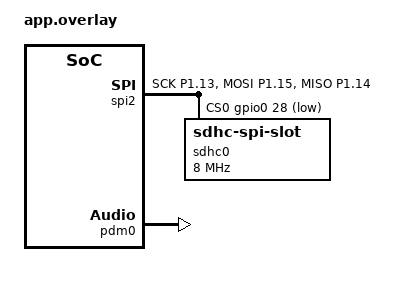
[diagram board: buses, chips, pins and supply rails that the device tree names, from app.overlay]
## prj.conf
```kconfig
# ---------- PocketMind Ep 6: recorder + BLE file transfer ----------
# GPIO for LEDs, button, motor, mic power
CONFIG_GPIO=y
CONFIG_REGULATOR=y

# PDM microphone
CONFIG_AUDIO=y
CONFIG_AUDIO_DMIC=y

# SD card over SPI
CONFIG_SPI=y
CONFIG_SDHC=y
CONFIG_DISK_ACCESS=y
CONFIG_DISK_DRIVER_SDMMC=y

# File system: FAT + exFAT, safe to use from two threads (recorder + BLE)
CONFIG_FILE_SYSTEM=y
CONFIG_FAT_FILESYSTEM_ELM=y
CONFIG_FS_FATFS_LFN=y
CONFIG_FS_FATFS_EXFAT=y
CONFIG_FS_FATFS_REENTRANT=y

CONFIG_MAIN_STACK_SIZE=4096
CONFIG_SYSTEM_WORKQUEUE_STACK_SIZE=4096

# Bluetooth LE peripheral
CONFIG_BT=y
CONFIG_BT_PERIPHERAL=y
CONFIG_BT_DEVICE_NAME="PocketMind"
CONFIG_BT_L2CAP_TX_MTU=252
CONFIG_BT_BUF_ACL_RX_SIZE=256

# MCUmgr (SMP) over BLE: file access + basic OS commands
CONFIG_NET_BUF=y
CONFIG_ZCBOR=y
CONFIG_MCUMGR=y
CONFIG_MCUMGR_TRANSPORT_BT=y
CONFIG_MCUMGR_TRANSPORT_BT_REASSEMBLY=y
CONFIG_MCUMGR_TRANSPORT_BT_PERM_RW=y
CONFIG_MCUMGR_TRANSPORT_NETBUF_SIZE=512
CONFIG_MCUMGR_TRANSPORT_WORKQUEUE_STACK_SIZE=4096
CONFIG_MCUMGR_GRP_FS=y
CONFIG_MCUMGR_GRP_FS_MAX_FILE_SIZE_4GB=y
CONFIG_MCUMGR_GRP_OS=y
CONFIG_REBOOT=y

# ---------- SPEED-UP (Ep 6 "after"): uncomment these 6 lines ----------
#CONFIG_BT_CTLR_DATA_LENGTH_MAX=251
#CONFIG_BT_BUF_ACL_TX_SIZE=251
#CONFIG_BT_USER_DATA_LEN_UPDATE=y
#CONFIG_BT_GATT_AUTO_UPDATE_MTU=y
#CONFIG_BT_AUTO_DATA_LEN_UPDATE=y
#CONFIG_BT_CTLR_PHY_2M=y
```

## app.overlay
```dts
/* PocketMind: SD card breakout on SPI2
 * D8 = P1.13 = CLK, D9 = P1.14 = SO (MISO), D10 = P1.15 = SI (MOSI), D2 = P0.28 = CS
 */
&pinctrl {
	pm_spi2_default: pm_spi2_default {
		group1 {
			psels = <NRF_PSEL(SPIM_SCK, 1, 13)>,
				<NRF_PSEL(SPIM_MOSI, 1, 15)>,
				<NRF_PSEL(SPIM_MISO, 1, 14)>;
		};
	};
	pm_spi2_sleep: pm_spi2_sleep {
		group1 {
			psels = <NRF_PSEL(SPIM_SCK, 1, 13)>,
				<NRF_PSEL(SPIM_MOSI, 1, 15)>,
				<NRF_PSEL(SPIM_MISO, 1, 14)>;
			low-power-enable;
		};
	};
};

&spi2 {
	compatible = "nordic,nrf-spim";
	status = "okay";
	pinctrl-0 = <&pm_spi2_default>;
	pinctrl-1 = <&pm_spi2_sleep>;
	pinctrl-names = "default", "sleep";
	cs-gpios = <&gpio0 28 GPIO_ACTIVE_LOW>;

	sdhc0: sdhc@0 {
		compatible = "zephyr,sdhc-spi-slot";
		reg = <0>;
		status = "okay";
		spi-max-frequency = <8000000>;
		mmc {
			compatible = "zephyr,sdmmc-disk";
			disk-name = "SD";
			status = "okay";
		};
	};
};

&pdm0 {
	status = "okay";
};
```

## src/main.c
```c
/*
 * PocketMind - Ep 5: one-button recorder with haptics
 *
 * Button (D1 = P0.03, to GND):  click = start recording, click again = stop & save
 * Vibration module IN (D3 = P0.29): 1 buzz = started, 2 buzzes = saved
 * Files: /SD:/RECxxx.WAV (16 kHz, 16-bit, mono), flushed every second
 * BLE: advertises as "PocketMind"; download files with nRF Connect Device Manager
 *      (Files tab, path e.g. /SD:/REC001.WAV). Download only while green (idle).
 *
 * LEDs:
 *   green on        = ready (idle)
 *   blue on         = recording
 *   red blinks 2x   = SD card problem
 *   red blinks 3x   = could not create file
 *   red blinks 4x   = microphone problem
 *   red blinks 5x   = Bluetooth problem
 */
#include <zephyr/kernel.h>
#include <zephyr/device.h>
#include <zephyr/drivers/gpio.h>
#include <zephyr/audio/dmic.h>
#include <zephyr/fs/fs.h>
#include <zephyr/storage/disk_access.h>
#include <ff.h>
#include <zephyr/bluetooth/bluetooth.h>
#include <zephyr/bluetooth/conn.h>
#include <stdio.h>
#include <string.h>

#define SAMPLE_RATE     16000
#define BYTES_PER_SAMP  2
#define BLOCK_MS        100
#define BLOCK_SIZE      (SAMPLE_RATE * BYTES_PER_SAMP * BLOCK_MS / 1000)
#define BLOCK_COUNT     16
#define READ_TIMEOUT_MS 1000
#define GAIN            4      /* volume boost; try 3..8 */
#define DISK_NAME       "SD"
#define MOUNT_PT        "/SD:"

#define BTN_PIN         3      /* P0.03 = D1 */
#define MOTOR_PIN       29     /* P0.29 = D3 */
#define CHG_PIN         13     /* P0.13: low = 100 mA charging */
#define DEBOUNCE_MS     300

K_MEM_SLAB_DEFINE_STATIC(mic_slab, BLOCK_SIZE, BLOCK_COUNT, 4);
K_SEM_DEFINE(btn_sem, 0, 1);

static const struct gpio_dt_spec led_red   = GPIO_DT_SPEC_GET(DT_ALIAS(led0), gpios);
static const struct gpio_dt_spec led_green = GPIO_DT_SPEC_GET(DT_ALIAS(led1), gpios);
static const struct gpio_dt_spec led_blue  = GPIO_DT_SPEC_GET(DT_ALIAS(led2), gpios);
static const struct device *gpio0 = DEVICE_DT_GET(DT_NODELABEL(gpio0));
static const struct device *gpio1 = DEVICE_DT_GET(DT_NODELABEL(gpio1));
static const struct device *dmic = DEVICE_DT_GET(DT_NODELABEL(pdm0));

static struct gpio_callback btn_cb;
static int64_t last_press;

static FATFS fat_fs;
static struct fs_mount_t mp = {
	.type = FS_FATFS,
	.fs_data = &fat_fs,
	.mnt_point = MOUNT_PT,
};

struct __packed wav_header {
	char riff[4]; uint32_t riff_size; char wave[4];
	char fmt[4]; uint32_t fmt_size; uint16_t audio_format; uint16_t channels;
	uint32_t sample_rate; uint32_t byte_rate; uint16_t block_align; uint16_t bits_per_sample;
	char data[4]; uint32_t data_size;
};

static void make_header(struct wav_header *h, uint32_t data_bytes)
{
	memcpy(h->riff, "RIFF", 4); h->riff_size = 36 + data_bytes;
	memcpy(h->wave, "WAVE", 4); memcpy(h->fmt, "fmt ", 4);
	h->fmt_size = 16; h->audio_format = 1; h->channels = 1;
	h->sample_rate = SAMPLE_RATE; h->byte_rate = SAMPLE_RATE * BYTES_PER_SAMP;
	h->block_align = BYTES_PER_SAMP; h->bits_per_sample = 16;
	memcpy(h->data, "data", 4); h->data_size = data_bytes;
}

static void fail(int blinks)
{
	gpio_pin_set_dt(&led_blue, 0);
	gpio_pin_set_dt(&led_green, 0);
	while (1) {
		for (int i = 0; i < blinks; i++) {
			gpio_pin_set_dt(&led_red, 1); k_msleep(200);
			gpio_pin_set_dt(&led_red, 0); k_msleep(200);
		}
		k_msleep(1500);
	}
}

static void buzz(int times)
{
	for (int i = 0; i < times; i++) {
		gpio_pin_set(gpio0, MOTOR_PIN, 1); k_msleep(150);
		gpio_pin_set(gpio0, MOTOR_PIN, 0); k_msleep(150);
	}
}

static void button_pressed(const struct device *dev, struct gpio_callback *cb, uint32_t pins)
{
	int64_t now = k_uptime_get();

	if (now - last_press > DEBOUNCE_MS) {
		last_press = now;
		k_sem_give(&btn_sem);
	}
}

/* ---------- Bluetooth ---------- */
static const struct bt_data ad[] = {
	BT_DATA_BYTES(BT_DATA_FLAGS, (BT_LE_AD_GENERAL | BT_LE_AD_NO_BREDR)),
	/* MCUmgr SMP service UUID 8D53DC1D-1DB7-4CD3-868B-8A527460AA84 */
	BT_DATA_BYTES(BT_DATA_UUID128_ALL,
		      0x84, 0xaa, 0x60, 0x74, 0x52, 0x8a, 0x8b, 0x86,
		      0xd3, 0x4c, 0xb7, 0x1d, 0x1d, 0xdc, 0x53, 0x8d),
};
static const struct bt_data sd[] = {
	BT_DATA(BT_DATA_NAME_COMPLETE, CONFIG_BT_DEVICE_NAME, sizeof(CONFIG_BT_DEVICE_NAME) - 1),
};

static void adv_start(struct k_work *work)
{
	bt_le_adv_start(BT_LE_ADV_CONN_FAST_1, ad, ARRAY_SIZE(ad), sd, ARRAY_SIZE(sd));
}
K_WORK_DEFINE(adv_work, adv_start);

static void recycled(void)
{
	k_work_submit(&adv_work);   /* advertise again after phone disconnects */
}

BT_CONN_CB_DEFINE(conn_callbacks) = {
	.recycled = recycled,
};

static void drain_mic(void)
{
	void *buf;
	uint32_t size;

	while (dmic_read(dmic, 0, &buf, &size, 0) == 0) {
		k_mem_slab_free(&mic_slab, buf);
	}
}

static void record_one(void)
{
	char path[32];
	struct fs_dirent ent;
	struct fs_file_t file;
	struct wav_header hdr;
	uint32_t written = 0;

	for (int n = 1; n < 1000; n++) {
		snprintf(path, sizeof(path), MOUNT_PT "/REC%03d.WAV", n);
		if (fs_stat(path, &ent) != 0) {
			break;
		}
	}

	fs_file_t_init(&file);
	if (fs_open(&file, path, FS_O_CREATE | FS_O_WRITE) != 0) {
		fail(3);
	}
	make_header(&hdr, 0);
	if (fs_write(&file, &hdr, sizeof(hdr)) != sizeof(hdr)) {
		fail(3);
	}

	if (dmic_trigger(dmic, DMIC_TRIGGER_START) != 0) {
		fail(4);
	}

	/* skip mic start-up noise (and the buzz) */
	for (int i = 0; i < 3; i++) {
		void *buf; uint32_t size;
		if (dmic_read(dmic, 0, &buf, &size, READ_TIMEOUT_MS) == 0) {
			k_mem_slab_free(&mic_slab, buf);
		}
	}

	gpio_pin_set_dt(&led_blue, 1);
	k_sem_reset(&btn_sem);

	int blocks = 0;

	while (k_sem_take(&btn_sem, K_NO_WAIT) != 0) {
		void *buf;
		uint32_t size;

		if (dmic_read(dmic, 0, &buf, &size, READ_TIMEOUT_MS) != 0) {
			fail(4);
		}

		int16_t *s = (int16_t *)buf;
		for (uint32_t k = 0; k < size / 2; k++) {
			int32_t v = s[k] * GAIN;
			if (v > 32767) v = 32767;
			if (v < -32768) v = -32768;
			s[k] = (int16_t)v;
		}

		if (fs_write(&file, buf, size) == size) {
			written += size;
		}
		k_mem_slab_free(&mic_slab, buf);

		if ((++blocks % 10) == 0) {
			fs_sync(&file);   /* never lose more than 1 s */
		}
	}

	dmic_trigger(dmic, DMIC_TRIGGER_STOP);
	drain_mic();

	make_header(&hdr, written);
	fs_seek(&file, 0, FS_SEEK_SET);
	fs_write(&file, &hdr, sizeof(hdr));
	fs_close(&file);

	gpio_pin_set_dt(&led_blue, 0);
}

int main(void)
{
	gpio_pin_configure_dt(&led_red, GPIO_OUTPUT_INACTIVE);
	gpio_pin_configure_dt(&led_green, GPIO_OUTPUT_INACTIVE);
	gpio_pin_configure_dt(&led_blue, GPIO_OUTPUT_INACTIVE);

	gpio_pin_configure(gpio1, 10, GPIO_OUTPUT_ACTIVE);       /* mic power */
	gpio_pin_configure(gpio0, CHG_PIN, GPIO_OUTPUT_INACTIVE); /* 100 mA charging */
	gpio_pin_configure(gpio0, MOTOR_PIN, GPIO_OUTPUT_INACTIVE);

	gpio_pin_configure(gpio0, BTN_PIN, GPIO_INPUT | GPIO_PULL_UP);
	gpio_pin_interrupt_configure(gpio0, BTN_PIN, GPIO_INT_EDGE_FALLING);
	gpio_init_callback(&btn_cb, button_pressed, BIT(BTN_PIN));
	gpio_add_callback(gpio0, &btn_cb);

	k_msleep(500);

	if (disk_access_ioctl(DISK_NAME, DISK_IOCTL_CTRL_INIT, NULL) != 0 ||
	    fs_mount(&mp) != 0) {
		fail(2);
	}

	if (!device_is_ready(dmic)) {
		fail(4);
	}

	struct pcm_stream_cfg stream = { .pcm_width = 16, .mem_slab = &mic_slab };
	struct dmic_cfg cfg = {
		.io = {
			.min_pdm_clk_freq = 1000000, .max_pdm_clk_freq = 3500000,
			.min_pdm_clk_dc = 40, .max_pdm_clk_dc = 60,
		},
		.streams = &stream,
		.channel = { .req_num_streams = 1, .req_num_chan = 1 },
	};
	cfg.channel.req_chan_map_lo = dmic_build_channel_map(0, 0, PDM_CHAN_LEFT);
	cfg.streams[0].pcm_rate = SAMPLE_RATE;
	cfg.streams[0].block_size = BLOCK_SIZE;

	if (dmic_configure(dmic, &cfg) != 0) {
		fail(4);
	}

	if (bt_enable(NULL) != 0) {
		fail(5);   /* 5 red blinks = Bluetooth problem */
	}
	k_work_submit(&adv_work);

	buzz(1);  /* hello */

	while (1) {
		gpio_pin_set_dt(&led_green, 1);           /* ready */
		k_sem_take(&btn_sem, K_FOREVER);          /* wait for click */
		gpio_pin_set_dt(&led_green, 0);

		buzz(1);                                   /* started */
		record_one();
		buzz(2);                                   /* saved */
	}
	return 0;
}
```
